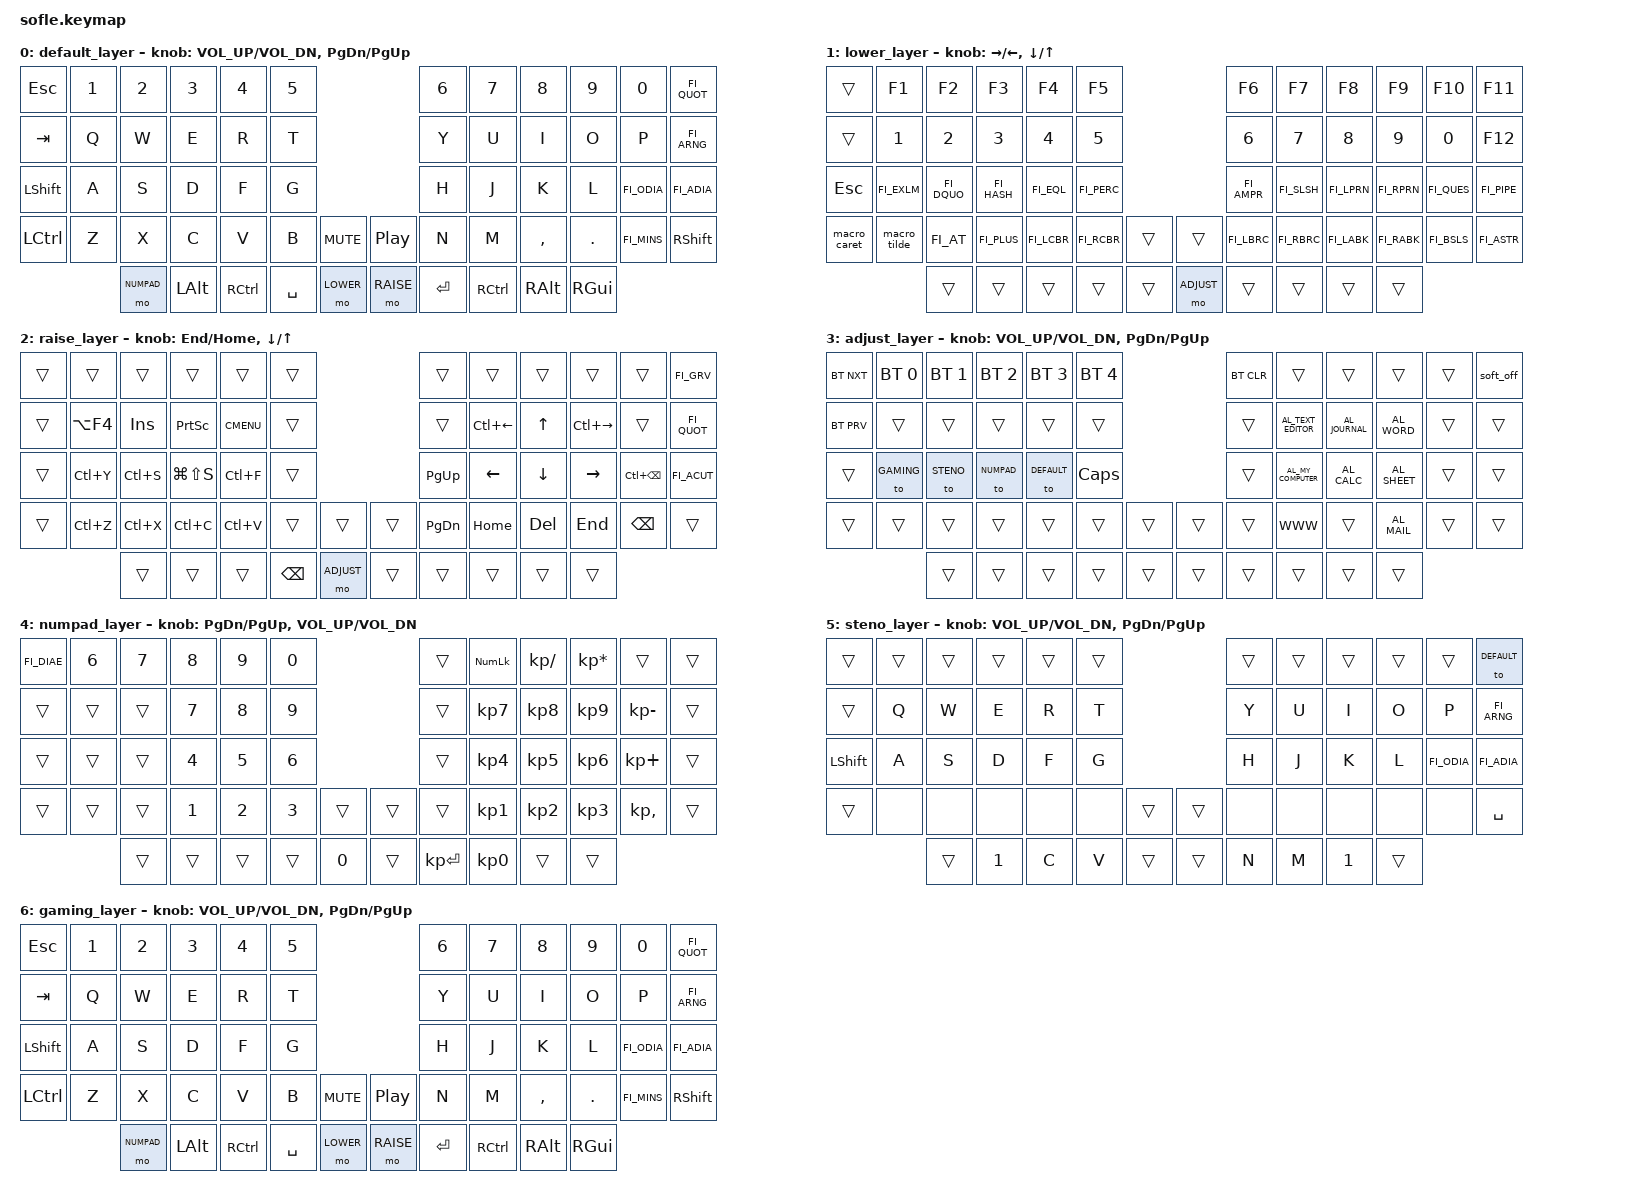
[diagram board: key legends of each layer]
/*
 * Copyright (c) 2020 The ZMK Contributors
 *
 * SPDX-License-Identifier: MIT
 */

#include <behaviors.dtsi>
#include <dt-bindings/zmk/keys.h>
#include <dt-bindings/zmk/bt.h>
#include <dt-bindings/zmk/ext_power.h>
#include "keymap_finnish.h"
#include "zmk-helpers/helper.h"

// Custom Layers
#define DEFAULT 0
#define LOWER 1
#define RAISE 2
#define ADJUST 3
#define NUMPAD 4
#define STENO 5
#define GAMING 5

// Custom Keycodes
#define _SNIP LG(LS(S))  // Windows snip shortcut
#define _CUT LC(X)
#define _COPY LC(C) 
#define _PASTE LC(V)
#define _SAVE LC(S)
#define _UNDO LC(Z)
#define _REDO LC(Y)
#define _SEARCH LC(F)
#define _PWRD LC(LEFT)
#define _NWRD LC(RIGHT)
#define _BSWRD LC(BSPC)
#define _ALTF4 LA(F4)

// Macro for outputting a single caret (^) symbol
ZMK_MACRO(macro_caret,
    wait-ms = <5>;
    tap-ms = <5>;
    bindings = <&macro_press &kp LSHFT>,
               <&macro_tap &kp FI_DIAE>,
               <&macro_tap &kp SPACE>,
               <&macro_release &kp LSHFT>;
)
// Macro for outputting a single tilde (~) symbol
ZMK_MACRO(macro_tilde,
    wait-ms = <10>;
    tap-ms = <10>;
    bindings = <&macro_press &kp RALT>,
               <&macro_tap &kp FI_DIAE>,
               <&macro_tap &kp FI_DIAE>,
               <&macro_release &kp RALT>,
               <&macro_tap &kp BSPC>;
)
&soft_off {
    hold-time-ms = <3000>; // Only turn off it the key is held for 3 seconds or longer.
};

&sk {
    release-after-ms = <750>;
    quick-release;
    /delete-property/ ignore-modifiers;
};

/ {
    keymap {
        compatible = "zmk,keymap";

        default_layer {

/* 
 * DEFAULT
 * ,-----------------------------------------.                              ,-----------------------------------------.
 * | ESC  |   1  |   2  |   3  |   4  |   5  |                              |   6  |   7  |   8  |   9  |   0  |   '  |
 * |------+------+------+------+------+------|                              |------+------+------+------+------+------|
 * | Tab  |   Q  |   W  |   E  |   R  |   T  |                              |   Y  |   U  |   I  |   O  |   P  |   Å  |
 * |------+------+------+------+------+------|                              |------+------+------+------+------+------|
 * |LShift|   A  |   S  |   D  |   F  |   G  |-------.              ,-------|   H  |   J  |   K  |   L  |   Ö  |   Ä  |
 * |------+------+------+------+------+------|  MUTE |              |  PLAY |------+------+------+------+------+------|
 * | LCTR |   Z  |   X  |   C  |   V  |   B  |-------|              |-------|   N  |   M  |   ,  |   .  |   -  |RShift|
 * `-----------------------------------------/       /               \      \-----------------------------------------'
 *            |NUMPAD| LAlt | RCTR |SPACE | / LOWER /                 \ RAISE\  |Enter |RCTRL | RAlt  | RGUI |
 *            | temp |      |      |      |/       /                   \      \ |      |      |       |      |
 *            `----------------------------------'                      '------''----------------------------'
 */
            bindings = <
&kp ESC     &kp N1   &kp N2       &kp N3    &kp N4     &kp N5                                    &kp N6   &kp N7    &kp N8     &kp N9    &kp N0       &kp FI_QUOT
&kp TAB     &kp Q    &kp W        &kp E     &kp R      &kp T                                     &kp Y    &kp U     &kp I      &kp O     &kp P        &kp FI_ARNG
&kp LSHFT   &kp A    &kp S        &kp D     &kp F      &kp G                                     &kp H    &kp J     &kp K      &kp L     &kp FI_ODIA  &kp FI_ADIA
&kp LCTRL   &kp Z    &kp X        &kp C     &kp V      &kp B      &kp C_MUTE          &kp C_PP   &kp N    &kp M     &kp COMMA  &kp DOT   &kp FI_MINS  &kp RSHFT
                     &mo NUMPAD   &kp LALT  &kp RCTRL  &kp SPACE  &mo LOWER           &mo RAISE  &kp RET  &kp RCTRL &kp RALT   &kp RGUI
            >;

            sensor-bindings = <&inc_dec_kp C_VOL_UP C_VOL_DN &inc_dec_kp PG_DN PG_UP>;
        };

        lower_layer {

/* 
 * LOWER
 * ,-----------------------------------------.                              ,-----------------------------------------.
 * |      |  F1  |  F2  |  F3  |  F4  |  F5  |                              |  F6  |  F7  |  F8  |  F9  | F10  | F11  |
 * |------+------+------+------+------+------|                              |------+------+------+------+------+------|
 * |      |   1  |   2  |   3  |   4  |   5  |                              |   6  |   7  |   8  |   9  |   0  | F12  |
 * |------+------+------+------+------+------|                              |------+------+------+------+------+------|
 * |  ESC |   !  |   "  |   #  |   =  |   %  |-------.              ,-------|   &  |   /  |   (  |   )  |   ?  |   |  |
 * |------+------+------+------+------+------|  MUTE |              |  PLAY |------+------+------+------+------+------|
 * |  ^   |  ~   |  @   |  +   |   {  |   }  |-------|              |-------|   [  |   ]  |   <  |   >  |   \  |  *   |
 * `-----------------------------------------/       /               \      \-----------------------------------------'
 *            |      |      |      |      | / LOWER /                 \  ADJ \  |      |      |      |      |
 *            |      |      |      |      |/       /                   \      \ |      |      |      |      |
 *            `----------------------------------'                      '------''---------------------------'
 */            
            bindings = <
&trans       &kp F1       &kp F2       &kp F3         &kp F4       &kp F5                                         &kp F6       &kp F7       &kp F8       &kp F9       &kp F10      &kp F11
&trans       &kp N1       &kp N2       &kp N3         &kp N4       &kp N5                                         &kp N6       &kp N7       &kp N8       &kp N9       &kp N0       &kp F12
&kp ESC      &kp FI_EXLM  &kp FI_DQUO  &kp FI_HASH    &kp FI_EQL   &kp FI_PERC                                    &kp FI_AMPR  &kp FI_SLSH  &kp FI_LPRN  &kp FI_RPRN  &kp FI_QUES  &kp FI_PIPE
&macro_caret &macro_tilde &kp FI_AT    &kp FI_PLUS    &kp FI_LCBR  &kp FI_RCBR   &trans             &trans        &kp FI_LBRC  &kp FI_RBRC  &kp FI_LABK  &kp FI_RABK  &kp FI_BSLS  &kp FI_ASTR
                          &trans       &trans         &trans       &trans        &trans             &mo ADJUST    &trans       &trans       &trans       &trans
            >;

            sensor-bindings = <&inc_dec_kp RIGHT LEFT &inc_dec_kp DOWN UP>;
        };

        raise_layer {

/* 
 * RAISE
 * ,----------------------------------------.                               ,-----------------------------------------.
 * |      |      |      |      |      |      |                              |      |      |      |      |      |  `   |
 * |------+------+------+------+------+------|                              |------+------+------+------+------+------|
 * |      |ALT F4| Ins  | Pscr | Menu |      |                              |      | PWrd |  Up  | NWrd |      |  '   |
 * |------+------+------+------+------+------|                              |------+------+------+------+------+------|
 * |      | Redo | Save | Snip |Search|      |-------.              ,-------| PGup | Left | Down | Rigth|BSWrd |  ´   |
 * |------+------+------+------+------+------|  MUTE |              |  PLAY |------+------+------+------+------+------|
 * |      | Undo |  Cut | Copy | Paste|      |-------|              |-------| PGdn | Home |  Del | End  |BSpace|      |
 * `-----------------------------------------/       /               \      \-----------------------------------------'
 *            |      |      |      |BSpace| /  ADJ  /                 \ RAISE\  |      |      |      |      |
 *            |      |      |      |      |/       /                   \      \ |      |      |      |      |
 *            `----------------------------------'                      '------''---------------------------'
 */
            bindings = <
&trans     &trans       &trans       &trans        &trans           &trans                                     &trans     &trans     &trans    &trans     &trans      &kp FI_GRV
&trans     &kp _ALTF4   &kp INS      &kp PSCRN     &kp K_CMENU      &trans                                     &trans     &kp _PWRD  &kp UP    &kp _NWRD  &trans      &kp FI_QUOT
&trans     &kp _REDO    &kp _SAVE    &kp _SNIP     &kp _SEARCH      &trans                                     &kp PG_UP  &kp LEFT   &kp DOWN  &kp RIGHT  &kp _BSWRD  &kp FI_ACUT
&trans     &kp _UNDO    &kp _CUT     &kp _COPY     &kp _PASTE       &trans      &trans              &trans     &kp PG_DN  &kp HOME   &kp DEL   &kp END    &kp BSPC    &trans
                        &trans       &trans        &trans           &kp BSPC    &mo ADJUST          &trans     &trans     &trans     &trans    &trans
            >;

            sensor-bindings = <&inc_dec_kp END HOME &inc_dec_kp DOWN UP>;
        };

        adjust_layer {

/* 
 * ADJUST
 * ,-----------------------------------------.                              ,-----------------------------------------.
 * |BT_NXT| BT0  | BT1  | BT2  | BT3  | BT4  |                              |BTCLR |      |      |      |      |&soft_off|
 * |------+------+------+------+------+------|                              |------+------+------+------+------+------|
 * |BT_PRV|      |      |      |      |      |                              |      | Text | Jrnl | Word |      |      |
 * |------+------+------+------+------+------|                              |------+------+------+------+------+------|
 * |      |GAMING| STENO| NUMP |DFAULT| CAPS |-------.              ,-------|      | Files| Calc | Excel|      |      |
 * |------+------+------+------+------+------|  MUTE |              |  PLAY |------+------+------+------+------+------|
 * |      |      |      |      |      |      |-------|              |-------|      | Web  |      | Mail |      |      |
 * `-----------------------------------------/       /               \      \-----------------------------------------'
 *            |      |      |      |      | / LOWER /                 \ RAISE\  |      |      |      |      |
 *            |      |      |      |      |/       /                   \      \ |      |      |      |      |
 *            `----------------------------------'                      '------''---------------------------'
 */
            bindings = <
&bt BT_NXT   &bt BT_SEL 0   &bt BT_SEL 1   &bt BT_SEL 2   &bt BT_SEL 3    &bt BT_SEL 4                                &bt BT_CLR  &trans                  &trans            &trans          &trans     &soft_off
&bt BT_PRV   &trans         &trans         &trans         &trans          &trans                                      &trans      &kp C_AL_TEXT_EDITOR    &kp C_AL_JOURNAL  &kp C_AL_WORD   &trans     &trans
&trans       &to GAMING     &to STENO      &to NUMPAD     &to DEFAULT     &kp CLCK                                    &trans      &kp C_AL_MY_COMPUTER    &kp C_AL_CALC     &kp C_AL_SHEET  &trans     &trans
&trans       &trans         &trans         &trans         &trans          &trans        &trans             &trans     &trans      &kp K_WWW               &trans            &kp C_AL_MAIL   &trans     &trans
                            &trans         &trans         &trans          &trans        &trans             &trans     &trans      &trans                  &trans            &trans
            >;

            sensor-bindings = <&inc_dec_kp C_VOL_UP C_VOL_DN &inc_dec_kp PG_DN PG_UP>;
        };

        numpad_layer {

 /*
 * NUMPAD
 * ,-----------------------------------------.                              ,-----------------------------------------.
 * |   ~  |   6  |   7  |   8  |   9  |   0  |                              |      |NUMLCK|   /  |  *   |      |      |
 * |------+------+------+------+------+------|                              |------+------+------+------+------+------|
 * |      |      |      |   7  |   8  |   9  |                              |      |   7  |   8  |  9   |  -   |      |
 * |------+------+------+------+------+------|                              |------+------+------+------+------+------|
 * |      |      |      |   4  |   5  |   6  |-------.              ,-------|      |   4  |   5  |  6   |  +   |      |
 * |------+------+------+------+------+------|  MUTE |              |  PLAY |------+------+------+------+------+------|
 * |      |      |      |   1  |   2  |   3  |-------|              |-------|      |   1  |   2  |  3   |  ,   |      |
 * `-----------------------------------------/       /               \      \-----------------------------------------'
 *            |      |      |      |      | /   0   /                 \ RAISE\  |KP_ETR| KP_0 |      |      |
 *            |      |      |      |      |/       /                   \      \ |      |      |      |      |
 *            `----------------------------------'                      '------''---------------------------'
 */
            bindings = <
&kp FI_DIAE &kp N6       &kp N7        &kp N8      &kp N9       &kp N0                                   &trans        &kp KP_NLCK     &kp KP_SLASH     &kp KP_MULTIPLY      &trans         &trans
&trans      &trans       &trans        &kp N7      &kp N8       &kp N9                                   &trans        &kp KP_N7       &kp KP_N8        &kp KP_N9            &kp KP_MINUS   &trans
&trans      &trans       &trans        &kp N4      &kp N5       &kp N6                                   &trans        &kp KP_N4       &kp KP_N5        &kp KP_N6            &kp KP_PLUS    &trans
&trans      &trans       &trans        &kp N1      &kp N2       &kp N3     &trans             &trans     &trans        &kp KP_N1       &kp KP_N2        &kp KP_N3            &kp KP_COMMA   &trans
                         &trans        &trans      &trans       &trans     &kp N0             &trans     &kp KP_ENTER  &kp KP_N0       &trans           &trans
            >;

            sensor-bindings = <&inc_dec_kp PG_DN PG_UP &inc_dec_kp C_VOL_UP C_VOL_DN>; //Flipped compared to other layers
        };

        steno_layer {

 /*
 * STENO
 * ,-----------------------------------------.                    ,-----------------------------------------.
 * |      |      |      |      |      |      |                    |      |      |      |      |      |DFAULT|
 * |------+------+------+------+------+------|                    |------+------+------+------+------+------|
 * |      |  S   |  T   |   P  |  H   |  *   |                    |   *  |   F  |  P   |  L   |  T   |  D   |
 * |------+------+------+------+------+------|                    |------+------+------+------+------+------|
 * |LShift|  S   |  K   |   W  |  R   |  *   |-------.    ,-------|   *  |   R  |  B   |  G   |  S   |  Z   |
 * |------+------+------+------+------+------|  MUTE |    |  PLAY |------+------+------+------+------+------|
 * |      |      |      |      |      |      |-------|    |-------|      |      |      |      |      |SPACE |
 * `-----------------------------------------/       /     \      \-----------------------------------------'
 *            |      |  #   |  A   |  O   | / LOWER /       \ RAISE\  |  E   |  U   |  #    |      |
 *            |      |      |      |      |/       /         \      \ |      |      |       |      |
 *            `----------------------------------'           '------''---------------------------'
 */
            bindings = <
&trans     &trans     &trans     &trans     &trans     &trans                                   &trans     &trans     &trans     &trans     &trans       &to DEFAULT 
&trans     &kp Q      &kp W      &kp E      &kp R      &kp T                                    &kp Y      &kp U      &kp I      &kp O      &kp P        &kp FI_ARNG 
&kp LSHFT  &kp A      &kp S      &kp D      &kp F      &kp G                                    &kp H      &kp J      &kp K      &kp L      &kp FI_ODIA  &kp FI_ADIA 
&trans     &none      &none      &none      &none      &none      &trans             &trans     &none      &none      &none      &none      &none        &kp SPACE 
                      &trans     &kp N1     &kp C      &kp V      &trans             &trans     &kp N      &kp M      &kp N1     &trans
            >;

            sensor-bindings = <&inc_dec_kp C_VOL_UP C_VOL_DN &inc_dec_kp PG_DN PG_UP>;
        };
        
        gaming_layer {
/* 
 * GAMING
 * ,-----------------------------------------.                              ,-----------------------------------------.
 * | ESC  |   1  |   2  |   3  |   4  |   5  |                              |   6  |   7  |   8  |   9  |   0  |   '  |
 * |------+------+------+------+------+------|                              |------+------+------+------+------+------|
 * | Tab  |   Q  |   W  |   E  |   R  |   T  |                              |   Y  |   U  |   I  |   O  |   P  |   Å  |
 * |------+------+------+------+------+------|                              |------+------+------+------+------+------|
 * |LShift|   A  |   S  |   D  |   F  |   G  |-------.              ,-------|   H  |   J  |   K  |   L  |   Ö  |   Ä  |
 * |------+------+------+------+------+------|  MUTE |              |  PLAY |------+------+------+------+------+------|
 * | LCTR |   Z  |   X  |   C  |   V  |   B  |-------|              |-------|   N  |   M  |   ,  |   .  |   -  |RShift|
 * `-----------------------------------------/       /               \      \-----------------------------------------'
 *            |NUMPAD| LAlt | RCTR |SPACE | / LOWER /                 \ RAISE\  |Enter |RCTRL | RAlt  | RGUI |
 *            | temp |      |      |      |/       /                   \      \ |      |      |       |      |
 *            `----------------------------------'                      '------''----------------------------'
 */
            bindings = <
&kp ESC     &kp N1   &kp N2       &kp N3    &kp N4     &kp N5                                    &kp N6   &kp N7    &kp N8     &kp N9    &kp N0       &kp FI_QUOT
&kp TAB     &kp Q    &kp W        &kp E     &kp R      &kp T                                     &kp Y    &kp U     &kp I      &kp O     &kp P        &kp FI_ARNG
&kp LSHFT   &kp A    &kp S        &kp D     &kp F      &kp G                                     &kp H    &kp J     &kp K      &kp L     &kp FI_ODIA  &kp FI_ADIA
&kp LCTRL   &kp Z    &kp X        &kp C     &kp V      &kp B      &kp C_MUTE          &kp C_PP   &kp N    &kp M     &kp COMMA  &kp DOT   &kp FI_MINS  &kp RSHFT
                     &mo NUMPAD   &kp LALT  &kp RCTRL  &kp SPACE  &mo LOWER           &mo RAISE  &kp RET  &kp RCTRL &kp RALT   &kp RGUI
            >;

            sensor-bindings = <&inc_dec_kp C_VOL_UP C_VOL_DN &inc_dec_kp PG_DN PG_UP>;
        };

//        template_layer {
//
/* 
 * TEMPLATE
 * ,-----------------------------------------.                              ,-----------------------------------------.
 * |      |      |      |      |      |      |                              |      |      |      |      |      |      |
 * |------+------+------+------+------+------|                              |------+------+------+------+------+------|
 * |      |      |      |      |      |      |                              |      |      |      |      |      |      |
 * |------+------+------+------+------+------|                              |------+------+------+------+------+------|
 * |      |      |      |      |      |      |-------.              ,-------|      |      |      |      |      |      |
 * |------+------+------+------+------+------|  MUTE |              |  PLAY |------+------+------+------+------+------|
 * |      |      |      |      |      |      |-------|              |-------|      |      |      |      |      |      |
 * `-----------------------------------------/       /               \      \-----------------------------------------'
 *            |      |      |      |      | / LOWER /                 \ RAISE\  |      |      |      |      |
 *            |      |      |      |      |/       /                   \      \ |      |      |      |      |
 *            `----------------------------------'                      '------''---------------------------'
 */
//            bindings = <
//&trans     &trans     &trans     &trans     &trans     &trans                                   &trans     &trans     &trans     &trans     &trans     &trans
//&trans     &trans     &trans     &trans     &trans     &trans                                   &trans     &trans     &trans     &trans     &trans     &trans
//&trans     &trans     &trans     &trans     &trans     &trans                                   &trans     &trans     &trans     &trans     &trans     &trans
//&trans     &trans     &trans     &trans     &trans     &trans     &trans             &trans     &trans     &trans     &trans     &trans     &trans     &trans
//                      &trans     &trans     &trans     &trans     &trans             &trans     &trans     &trans     &trans     &trans
//            >;
//
//            sensor-bindings = <&inc_dec_kp C_VOL_UP C_VOL_DN &inc_dec_kp PG_DN PG_UP>;
//        };

    };
};
